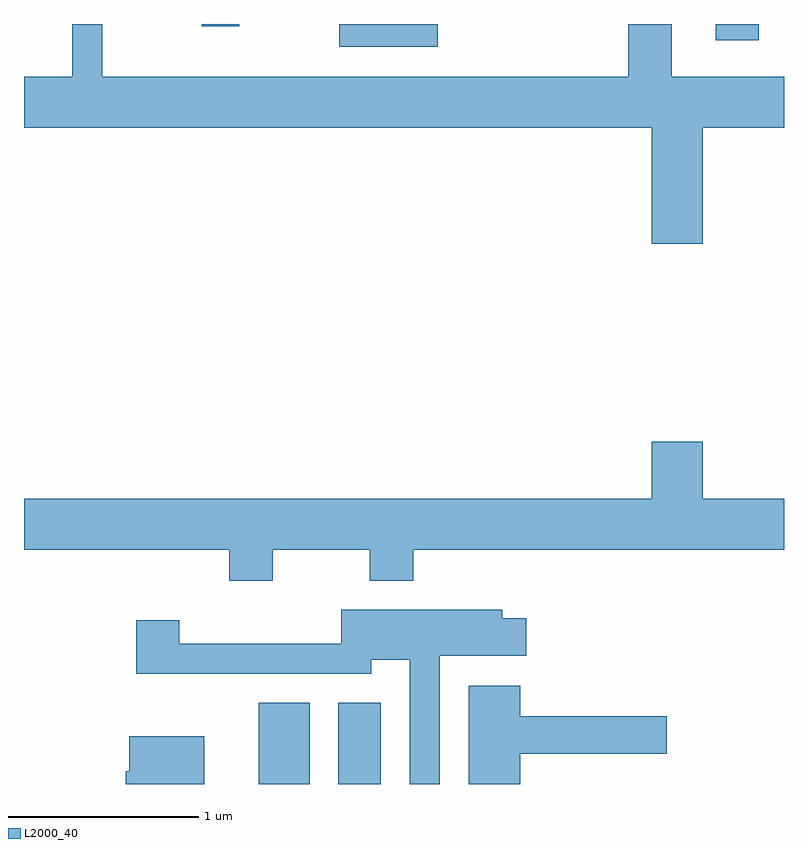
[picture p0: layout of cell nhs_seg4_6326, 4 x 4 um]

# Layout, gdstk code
import gdstk
lib = gdstk.Library(unit=1e-6, precision=1e-09)
def R(c, l, rs):  # rectangles x0, y0, x1, y1
    for r in rs: c.add(gdstk.rectangle(r[:2], r[2:], *l))
def P(c, l, *ps):  # polygons
    for p in ps: c.add(gdstk.Polygon(p, *l))
L2000_40 = (2000, 40)

nhs_seg4_6326 = lib.new_cell('nhs_seg4_6326')
R(nhs_seg4_6326, L2000_40, [(372.846,1257.982,373.114,1258.409), (373.266,1257.982,373.489,1258.409), (373.271,1261.861,373.788,1261.982), (375.251,1261.896,375.479,1261.982), (372.546,1261.971,372.744,1261.982)])
P(nhs_seg4_6326, L2000_40, [(375.184,1261.436),(375.611,1261.436),(375.611,1261.704),(375.019,1261.704),(375.019,1261.982),(374.791,1261.982),(374.791,1261.704),(372.024,1261.704),(372.024,1261.982),(371.866,1261.982),(371.866,1261.704),(371.611,1261.704),(371.611,1261.436),(374.916,1261.436),(374.916,1260.826),(375.184,1260.826)],
  [(372.919,1259.216),(373.431,1259.216),(373.431,1259.051),(373.659,1259.051),(373.659,1259.216),(375.611,1259.216),(375.611,1259.484),(375.184,1259.484),(375.184,1259.784),(374.916,1259.784),(374.916,1259.484),(371.611,1259.484),(371.611,1259.216),(372.691,1259.216),(372.691,1259.051),(372.919,1259.051)],
  [(373.799,1258.656),(374.254,1258.656),(374.254,1258.854),(374.129,1258.854),(374.129,1258.899),(373.281,1258.899),(373.281,1258.719),(372.429,1258.719),(372.429,1258.844),(372.201,1258.844),(372.201,1258.561),(373.439,1258.561),(373.439,1258.636),(373.641,1258.636),(373.641,1257.982),(373.799,1257.982)],
  [(374.224,1258.141),(374.994,1258.141),(374.994,1258.339),(374.224,1258.339),(374.224,1258.499),(373.951,1258.499),(373.951,1257.982),(374.224,1257.982)],
  [(372.559,1258.234),(372.166,1258.234),(372.166,1258.049),(372.146,1258.049),(372.146,1257.982),(372.559,1257.982)])

lib.write_gds('nhs_seg4_6326.gds')
